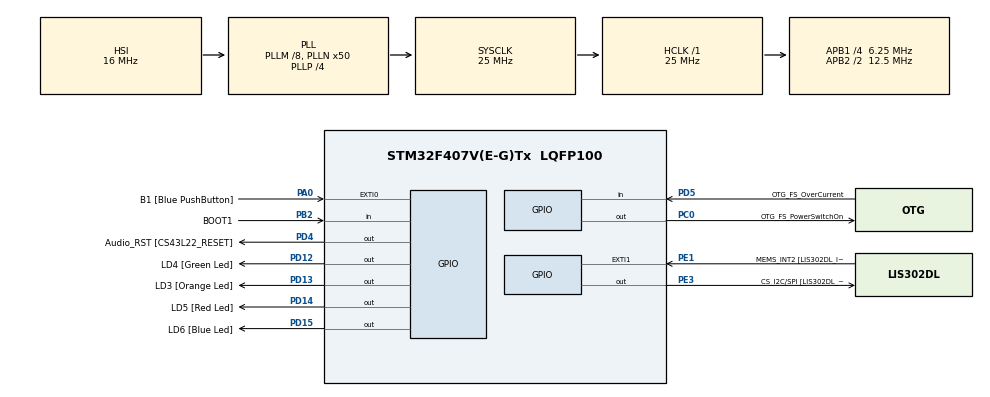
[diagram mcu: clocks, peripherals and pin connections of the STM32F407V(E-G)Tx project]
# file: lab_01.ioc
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Mcu.Family=STM32F4
Mcu.Name=STM32F407V(E-G)Tx
Mcu.Package=LQFP100
NVIC.PriorityGroup=NVIC_PRIORITYGROUP_4
NVIC.TIM7_IRQn=true\:0\:0\:false\:false\:true\:false\:true\:true
NVIC.TimeBase=TIM7_IRQn
NVIC.TimeBaseIP=TIM7
PA0-WKUP.GPIO_Label=B1 [Blue PushButton]
PA0-WKUP.Signal=GPXTI0
PA10.GPIO_Label=OTG_FS_ID
PA10.GPIO_Mode=GPIO_MODE_AF_PP
PA10.GPIO_PuPd=GPIO_NOPULL
PA10.GPIO_Speed=GPIO_SPEED_FREQ_LOW
PA10.Signal=USB_OTG_FS_ID
PA11.GPIO_Label=OTG_FS_DM
PA11.GPIO_Mode=GPIO_MODE_AF_PP
PA11.GPIO_PuPd=GPIO_NOPULL
PA11.GPIO_Speed=GPIO_SPEED_FREQ_LOW
PA11.Signal=USB_OTG_FS_DM
PA12.GPIO_Label=OTG_FS_DP
PA12.GPIO_Mode=GPIO_MODE_AF_PP
PA12.GPIO_PuPd=GPIO_NOPULL
PA12.GPIO_Speed=GPIO_SPEED_FREQ_LOW
PA12.Signal=USB_OTG_FS_DP
PA13.GPIO_Label=SWDIO
PA13.Mode=Serial_Wire
PA13.Signal=SYS_JTMS-SWDIO
PA14.GPIO_Label=SWCLK
PA14.Mode=Serial_Wire
PA14.Signal=SYS_JTCK-SWCLK
PA4.GPIO_Label=I2S3_WS [CS43L22_LRCK]
PA4.GPIO_Mode=GPIO_MODE_AF_PP
PA4.GPIO_PuPd=GPIO_NOPULL
PA4.GPIO_Speed=GPIO_SPEED_FREQ_LOW
PA4.Signal=I2S3_WS
PA5.GPIO_Label=SPI1_SCK [LIS302DL_SCL/SPC]
PA5.GPIO_Mode=GPIO_MODE_AF_PP
PA5.GPIO_PuPd=GPIO_NOPULL
PA5.GPIO_Speed=GPIO_SPEED_FREQ_LOW
PA5.Signal=SPI1_SCK
PA6.GPIO_Label=SPI1_MISO [LIS302DL_SDO]
PA6.GPIO_Mode=GPIO_MODE_AF_PP
PA6.GPIO_PuPd=GPIO_NOPULL
PA6.GPIO_Speed=GPIO_SPEED_FREQ_LOW
PA6.Signal=SPI1_MISO
PA7.GPIO_Label=SPI1_MOSI [LIS302DL_SDA/SDI/SDO]
PA7.GPIO_Mode=GPIO_MODE_AF_PP
PA7.GPIO_PuPd=GPIO_NOPULL
PA7.GPIO_Speed=GPIO_SPEED_FREQ_LOW
PA7.Signal=SPI1_MOSI
PA9.GPIO_Label=VBUS_FS
PA9.GPIO_Mode=GPIO_MODE_INPUT
PA9.GPIO_PuPd=GPIO_NOPULL
PA9.Signal=USB_OTG_FS_VBUS
PB10.GPIO_Label=CLK_IN [MP45DT02_CLK]
PB10.GPIO_Mode=GPIO_MODE_AF_PP
PB10.GPIO_PuPd=GPIO_NOPULL
PB10.GPIO_Speed=GPIO_SPEED_FREQ_LOW
PB10.Signal=I2S2_CK
PB2.GPIO_Label=BOOT1
PB2.GPIO_Mode=GPIO_MODE_INPUT
PB2.GPIO_PuPd=GPIO_NOPULL
PB2.Signal=GPIO_Input
PB3.GPIO_Label=SWO
PB3.Signal=SYS_JTDO-SWO
PB6.GPIO_Label=Audio_SCL [CS43L22_SCL]
PB6.GPIO_Mode=GPIO_MODE_AF_OD
PB6.GPIO_PuPd=GPIO_NOPULL
PB6.GPIO_Speed=GPIO_SPEED_FREQ_LOW
PB6.Signal=I2C1_SCL
PB9.GPIO_Label=Audio_SDA [CS43L22_SDA]
PB9.GPIO_Mode=GPIO_MODE_AF_OD
PB9.GPIO_PuPd=GPIO_NOPULL
PB9.GPIO_Speed=GPIO_SPEED_FREQ_LOW
PB9.Signal=I2C1_SDA
PC0.GPIO_Label=OTG_FS_PowerSwitchOn
PC0.GPIO_PuPd=GPIO_NOPULL
PC0.GPIO_Speed=GPIO_SPEED_FREQ_LOW
PC0.PinState=GPIO_PIN_SET
PC0.Signal=GPIO_Output
PC10.GPIO_Label=I2S3_SCK [CS43L22_SCLK]
PC10.GPIO_Mode=GPIO_MODE_AF_PP
PC10.GPIO_PuPd=GPIO_NOPULL
PC10.GPIO_Speed=GPIO_SPEED_FREQ_LOW
PC10.Signal=I2S3_CK
PC12.GPIO_Label=I2S3_SD [CS43L22_SDIN]
PC12.GPIO_Mode=GPIO_MODE_AF_PP
PC12.GPIO_PuPd=GPIO_NOPULL
PC12.GPIO_Speed=GPIO_SPEED_FREQ_LOW
PC12.Signal=I2S3_SD
PC14-OSC32_IN.GPIO_Label=PC14-OSC32_IN
PC14-OSC32_IN.Signal=RCC_OSC32_IN
PC15-OSC32_OUT.GPIO_Label=PC15-OSC32_OUT
PC15-OSC32_OUT.Signal=RCC_OSC32_OUT
PC3.GPIO_Label=PDM_OUT [MP45DT02_DOUT]
PC3.GPIO_Mode=GPIO_MODE_AF_PP
PC3.GPIO_PuPd=GPIO_NOPULL
PC3.GPIO_Speed=GPIO_SPEED_FREQ_LOW
PC3.Signal=I2S2_SD
PC7.GPIO_Label=I2S3_MCK [CS43L22_MCLK]
PC7.GPIO_Mode=GPIO_MODE_AF_PP
PC7.GPIO_PuPd=GPIO_NOPULL
PC7.GPIO_Speed=GPIO_SPEED_FREQ_LOW
PC7.Signal=I2S3_MCK
PD12.GPIO_Label=LD4 [Green Led]
PD12.GPIO_PuPd=GPIO_NOPULL
PD12.GPIO_Speed=GPIO_SPEED_FREQ_LOW
PD12.Signal=GPIO_Output
PD13.GPIO_Label=LD3 [Orange Led]
PD13.GPIO_PuPd=GPIO_NOPULL
PD13.GPIO_Speed=GPIO_SPEED_FREQ_LOW
PD13.Signal=GPIO_Output
PD14.GPIO_Label=LD5 [Red Led]
PD14.GPIO_PuPd=GPIO_NOPULL
PD14.GPIO_Speed=GPIO_SPEED_FREQ_LOW
PD14.Signal=GPIO_Output
PD15.GPIO_Label=LD6 [Blue Led]
PD15.GPIO_PuPd=GPIO_NOPULL
PD15.GPIO_Speed=GPIO_SPEED_FREQ_LOW
PD15.Signal=GPIO_Output
PD4.GPIO_Label=Audio_RST [CS43L22_RESET]
PD4.GPIO_PuPd=GPIO_NOPULL
PD4.GPIO_Speed=GPIO_SPEED_FREQ_LOW
PD4.Signal=GPIO_Output
PD5.GPIO_Label=OTG_FS_OverCurrent
PD5.GPIO_Mode=GPIO_MODE_INPUT
PD5.GPIO_PuPd=GPIO_NOPULL
PD5.Signal=GPIO_Input
PE1.GPIO_Label=MEMS_INT2 [LIS302DL_INT2]
PE1.GPIO_ModeDefaultEXTI=GPIO_MODE_EVT_RISING
PE1.GPIO_PuPd=GPIO_NOPULL
PE1.Signal=GPXTI1
PE3.GPIO_Label=CS_I2C/SPI [LIS302DL_CS_I2C/SPI]
PE3.GPIO_PuPd=GPIO_NOPULL
PE3.GPIO_Speed=GPIO_SPEED_FREQ_LOW
PE3.Signal=GPIO_Output
PH0-OSC_IN.GPIO_Label=PH0-OSC_IN
PH0-OSC_IN.Signal=RCC_OSC_IN
PH1-OSC_OUT.GPIO_Label=PH1-OSC_OUT
PH1-OSC_OUT.Signal=RCC_OSC_OUT
ProjectManager.HeapSize=0x200
ProjectManager.StackSize=0x400
ProjectManager.TargetToolchain=STM32CubeIDE
RCC.48MHZClocksFreq_Value=14285714.285714285
RCC.AHBFreq_Value=25000000
RCC.APB1CLKDivider=RCC_HCLK_DIV4
RCC.APB1Freq_Value=6250000
RCC.APB1TimFreq_Value=12500000
RCC.APB2CLKDivider=RCC_HCLK_DIV2
RCC.APB2Freq_Value=12500000
RCC.APB2TimFreq_Value=25000000
RCC.CortexFreq_Value=25000000
RCC.HCLKFreq_Value=25000000
RCC.HSE_VALUE=8000000
RCC.HSI_VALUE=16000000
RCC.LSE_VALUE=32768
RCC.PLLM=8
RCC.PLLN=50
RCC.PLLP=RCC_PLLP_DIV4
RCC.PLLQ=7
RCC.SYSCLKFreq_VALUE=25000000
RCC.SYSCLKSource=RCC_SYSCLKSOURCE_PLLCLK
RCC.VCOOutputFreq_Value=100000000
VP_SYS_VS_tim7.Mode=TIM7
board=STM32F407G-DISC1

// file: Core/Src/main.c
/* USER CODE BEGIN Header */
/**
  ******************************************************************************
  * @file           : main.c
  * @brief          : Main program body
  ******************************************************************************
  * @attention
  *
  * Copyright (c) 2022 STMicroelectronics.
  * All rights reserved.
  *
  * This software is licensed under terms that can be found in the LICENSE file
  * in the root directory of this software component.
  * If no LICENSE file comes with this software, it is provided AS-IS.
  *
  ******************************************************************************
  */
/* USER CODE END Header */
#include "main.h"

/* USER CODE BEGIN Includes */
#include "stdio.h"
#include "stdlib.h"
#include "FreeRTOS.h"
#include "task.h"
#include "queue.h"

/* USER CODE END Includes */

void SystemClock_Config(void);
static void MX_GPIO_Init(void);

/* USER CODE BEGIN 0 */
BaseType_t xReturned;
TaskHandle_t xHandle=NULL;
QueueHandle_t MsgQueue = NULL;
//void LED_Task( void ){
//
//		HAL_GPIO_WritePin(GPIOD, GPIO_PIN_12 | GPIO_PIN_13 | GPIO_PIN_14 | GPIO_PIN_15, GPIO_PIN_RESET);
//		int btn = 0;
//		for(;;){
//			if(HAL_GPIO_ReadPin(GPIOA,GPIO_PIN_0)){
//				btn = ~btn;
//
//			}
//			if(btn){
//				HAL_GPIO_WritePin(GPIOD, GPIO_PIN_13, GPIO_PIN_SET );
//				vTaskDelay(1000);
//				HAL_GPIO_WritePin(GPIOD, GPIO_PIN_13, GPIO_PIN_RESET );
//				vTaskDelay(1000);
//			}
//			else{
//				HAL_GPIO_WritePin(GPIOD, GPIO_PIN_12, GPIO_PIN_SET );
//				vTaskDelay(2000);
//				HAL_GPIO_WritePin(GPIOD, GPIO_PIN_12, GPIO_PIN_RESET );
//				HAL_GPIO_WritePin(GPIOD, GPIO_PIN_14, GPIO_PIN_SET );
//				vTaskDelay(2000);
//				HAL_GPIO_WritePin(GPIOD, GPIO_PIN_14, GPIO_PIN_RESET );
//			}
//
//		}
//
//}
void ButtonTask_App(void)
{
	unsigned int task = 0;
		unsigned int count = 0;
		for(;;)
		{
			if(HAL_GPIO_ReadPin(GPIOA,GPIO_PIN_0))
			{
				HAL_Delay(100);
				while(HAL_GPIO_ReadPin(GPIOA,GPIO_PIN_0))
				{;}
				++count ;
				if(count & 0x01)
					task = 1;
				else
					task = 0;
				xQueueSend(MsgQueue,(int * ) &task,1);
				taskYIELD();
			}
		}
}
void LEDTask_App(void)
{
	unsigned int light = 1;
	for(;;)
	{
		while(light==0){
			//orange light mode
			HAL_GPIO_WritePin(GPIOD, GPIO_PIN_13, GPIO_PIN_SET);
			vTaskDelay(1000);
			xQueueReceive(MsgQueue,&light, 0);
			HAL_GPIO_WritePin(GPIOD, GPIO_PIN_13, GPIO_PIN_RESET);
			vTaskDelay(1000);

		}

		while(light==1){
			// red green light mode
			HAL_GPIO_WritePin(GPIOD, GPIO_PIN_12, GPIO_PIN_SET);
			vTaskDelay(2000);
			xQueueReceive(MsgQueue,&light, 0);
			HAL_GPIO_WritePin(GPIOD, GPIO_PIN_12, GPIO_PIN_RESET);

			if(light==0) break;

			HAL_GPIO_WritePin(GPIOD, GPIO_PIN_14, GPIO_PIN_SET);
			vTaskDelay(2000);
			xQueueReceive(MsgQueue,&light, 0);
			HAL_GPIO_WritePin(GPIOD, GPIO_PIN_14, GPIO_PIN_RESET);
		}
	}
}

/* USER CODE END 0 */

int main(void)
{

  /* MCU Configuration--------------------------------------------------------*/

  /* Reset of all peripherals, Initializes the Flash interface and the Systick. */
  HAL_Init();

  /* Configure the system clock */
  SystemClock_Config();

  /* Initialize all configured peripherals */
  MX_GPIO_Init();

  /* USER CODE BEGIN 2 */
//  xTaskCreate(LED_Task, "LED_Task", 128, NULL, 1, &xHandle);
  MsgQueue = xQueueCreate(1,sizeof(unsigned int));

  xTaskCreate(LEDTask_App,"LEDTask_App",128,NULL,1,&xHandle);
  xTaskCreate(ButtonTask_App,"ButtonTask_App",128,NULL,1,&xHandle);

  vTaskStartScheduler();
  /* USER CODE END 2 */

  /* Infinite loop */
  while (1)
  {

  }
}

void SystemClock_Config(void)
{
  RCC_OscInitTypeDef RCC_OscInitStruct = {0};
  RCC_ClkInitTypeDef RCC_ClkInitStruct = {0};

  /** Configure the main internal regulator output voltage
  */
  __HAL_RCC_PWR_CLK_ENABLE();
  __HAL_PWR_VOLTAGESCALING_CONFIG(PWR_REGULATOR_VOLTAGE_SCALE1);
  /** Initializes the RCC Oscillators according to the specified parameters
  * in the RCC_OscInitTypeDef structure.
  */
  RCC_OscInitStruct.OscillatorType = RCC_OSCILLATORTYPE_HSI;
  RCC_OscInitStruct.HSIState = RCC_HSI_ON;
  RCC_OscInitStruct.HSICalibrationValue = RCC_HSICALIBRATION_DEFAULT;
  RCC_OscInitStruct.PLL.PLLState = RCC_PLL_ON;
  RCC_OscInitStruct.PLL.PLLSource = RCC_PLLSOURCE_HSI;
  RCC_OscInitStruct.PLL.PLLM = 8;
  RCC_OscInitStruct.PLL.PLLN = 50;
  RCC_OscInitStruct.PLL.PLLP = RCC_PLLP_DIV4;
  RCC_OscInitStruct.PLL.PLLQ = 7;
  if (HAL_RCC_OscConfig(&RCC_OscInitStruct) != HAL_OK)
  {
    Error_Handler();
  }
  /** Initializes the CPU, AHB and APB buses clocks
  */
  RCC_ClkInitStruct.ClockType = RCC_CLOCKTYPE_HCLK|RCC_CLOCKTYPE_SYSCLK
                              |RCC_CLOCKTYPE_PCLK1|RCC_CLOCKTYPE_PCLK2;
  RCC_ClkInitStruct.SYSCLKSource = RCC_SYSCLKSOURCE_PLLCLK;
  RCC_ClkInitStruct.AHBCLKDivider = RCC_SYSCLK_DIV1;
  RCC_ClkInitStruct.APB1CLKDivider = RCC_HCLK_DIV4;
  RCC_ClkInitStruct.APB2CLKDivider = RCC_HCLK_DIV2;

  if (HAL_RCC_ClockConfig(&RCC_ClkInitStruct, FLASH_LATENCY_0) != HAL_OK)
  {
    Error_Handler();
  }
}

static void MX_GPIO_Init(void)
{
  GPIO_InitTypeDef GPIO_InitStruct = {0};

  /* GPIO Ports Clock Enable */
  __HAL_RCC_GPIOE_CLK_ENABLE();
  __HAL_RCC_GPIOC_CLK_ENABLE();
  __HAL_RCC_GPIOH_CLK_ENABLE();
  __HAL_RCC_GPIOA_CLK_ENABLE();
  __HAL_RCC_GPIOB_CLK_ENABLE();
  __HAL_RCC_GPIOD_CLK_ENABLE();

  /*Configure GPIO pin Output Level */
  HAL_GPIO_WritePin(CS_I2C_SPI_GPIO_Port, CS_I2C_SPI_Pin, GPIO_PIN_RESET);

  /*Configure GPIO pin Output Level */
  HAL_GPIO_WritePin(OTG_FS_PowerSwitchOn_GPIO_Port, OTG_FS_PowerSwitchOn_Pin, GPIO_PIN_SET);

  /*Configure GPIO pin Output Level */
  HAL_GPIO_WritePin(GPIOD, LD4_Pin|LD3_Pin|LD5_Pin|LD6_Pin
                          |Audio_RST_Pin, GPIO_PIN_RESET);

  /*Configure GPIO pin : CS_I2C_SPI_Pin */
  GPIO_InitStruct.Pin = CS_I2C_SPI_Pin;
  GPIO_InitStruct.Mode = GPIO_MODE_OUTPUT_PP;
  GPIO_InitStruct.Pull = GPIO_NOPULL;
  GPIO_InitStruct.Speed = GPIO_SPEED_FREQ_LOW;
  HAL_GPIO_Init(CS_I2C_SPI_GPIO_Port, &GPIO_InitStruct);

  /*Configure GPIO pin : OTG_FS_PowerSwitchOn_Pin */
  GPIO_InitStruct.Pin = OTG_FS_PowerSwitchOn_Pin;
  GPIO_InitStruct.Mode = GPIO_MODE_OUTPUT_PP;
  GPIO_InitStruct.Pull = GPIO_NOPULL;
  GPIO_InitStruct.Speed = GPIO_SPEED_FREQ_LOW;
  HAL_GPIO_Init(OTG_FS_PowerSwitchOn_GPIO_Port, &GPIO_InitStruct);

  /*Configure GPIO pin : PDM_OUT_Pin */
  GPIO_InitStruct.Pin = PDM_OUT_Pin;
  GPIO_InitStruct.Mode = GPIO_MODE_AF_PP;
  GPIO_InitStruct.Pull = GPIO_NOPULL;
  GPIO_InitStruct.Speed = GPIO_SPEED_FREQ_LOW;
  GPIO_InitStruct.Alternate = GPIO_AF5_SPI2;
  HAL_GPIO_Init(PDM_OUT_GPIO_Port, &GPIO_InitStruct);

  /*Configure GPIO pin : B1_Pin */
  GPIO_InitStruct.Pin = B1_Pin;
  GPIO_InitStruct.Mode = GPIO_MODE_IT_RISING;
  GPIO_InitStruct.Pull = GPIO_NOPULL;
  HAL_GPIO_Init(B1_GPIO_Port, &GPIO_InitStruct);

  /*Configure GPIO pin : I2S3_WS_Pin */
  GPIO_InitStruct.Pin = I2S3_WS_Pin;
  GPIO_InitStruct.Mode = GPIO_MODE_AF_PP;
  GPIO_InitStruct.Pull = GPIO_NOPULL;
  GPIO_InitStruct.Speed = GPIO_SPEED_FREQ_LOW;
  GPIO_InitStruct.Alternate = GPIO_AF6_SPI3;
  HAL_GPIO_Init(I2S3_WS_GPIO_Port, &GPIO_InitStruct);

  /*Configure GPIO pins : SPI1_SCK_Pin SPI1_MISO_Pin SPI1_MOSI_Pin */
  GPIO_InitStruct.Pin = SPI1_SCK_Pin|SPI1_MISO_Pin|SPI1_MOSI_Pin;
  GPIO_InitStruct.Mode = GPIO_MODE_AF_PP;
  GPIO_InitStruct.Pull = GPIO_NOPULL;
  GPIO_InitStruct.Speed = GPIO_SPEED_FREQ_LOW;
  GPIO_InitStruct.Alternate = GPIO_AF5_SPI1;
  HAL_GPIO_Init(GPIOA, &GPIO_InitStruct);

  /*Configure GPIO pin : BOOT1_Pin */
  GPIO_InitStruct.Pin = BOOT1_Pin;
  GPIO_InitStruct.Mode = GPIO_MODE_INPUT;
  GPIO_InitStruct.Pull = GPIO_NOPULL;
  HAL_GPIO_Init(BOOT1_GPIO_Port, &GPIO_InitStruct);

  /*Configure GPIO pin : CLK_IN_Pin */
  GPIO_InitStruct.Pin = CLK_IN_Pin;
  GPIO_InitStruct.Mode = GPIO_MODE_AF_PP;
  GPIO_InitStruct.Pull = GPIO_NOPULL;
  GPIO_InitStruct.Speed = GPIO_SPEED_FREQ_LOW;
  GPIO_InitStruct.Alternate = GPIO_AF5_SPI2;
  HAL_GPIO_Init(CLK_IN_GPIO_Port, &GPIO_InitStruct);

  /*Configure GPIO pins : LD4_Pin LD3_Pin LD5_Pin LD6_Pin
                           Audio_RST_Pin */
  GPIO_InitStruct.Pin = LD4_Pin|LD3_Pin|LD5_Pin|LD6_Pin
                          |Audio_RST_Pin;
  GPIO_InitStruct.Mode = GPIO_MODE_OUTPUT_PP;
  GPIO_InitStruct.Pull = GPIO_NOPULL;
  GPIO_InitStruct.Speed = GPIO_SPEED_FREQ_LOW;
  HAL_GPIO_Init(GPIOD, &GPIO_InitStruct);

  /*Configure GPIO pins : I2S3_MCK_Pin I2S3_SCK_Pin I2S3_SD_Pin */
  GPIO_InitStruct.Pin = I2S3_MCK_Pin|I2S3_SCK_Pin|I2S3_SD_Pin;
  GPIO_InitStruct.Mode = GPIO_MODE_AF_PP;
  GPIO_InitStruct.Pull = GPIO_NOPULL;
  GPIO_InitStruct.Speed = GPIO_SPEED_FREQ_LOW;
  GPIO_InitStruct.Alternate = GPIO_AF6_SPI3;
  HAL_GPIO_Init(GPIOC, &GPIO_InitStruct);

  /*Configure GPIO pin : VBUS_FS_Pin */
  GPIO_InitStruct.Pin = VBUS_FS_Pin;
  GPIO_InitStruct.Mode = GPIO_MODE_INPUT;
  GPIO_InitStruct.Pull = GPIO_NOPULL;
  HAL_GPIO_Init(VBUS_FS_GPIO_Port, &GPIO_InitStruct);

  /*Configure GPIO pins : OTG_FS_ID_Pin OTG_FS_DM_Pin OTG_FS_DP_Pin */
  GPIO_InitStruct.Pin = OTG_FS_ID_Pin|OTG_FS_DM_Pin|OTG_FS_DP_Pin;
  GPIO_InitStruct.Mode = GPIO_MODE_AF_PP;
  GPIO_InitStruct.Pull = GPIO_NOPULL;
  GPIO_InitStruct.Speed = GPIO_SPEED_FREQ_LOW;
  GPIO_InitStruct.Alternate = GPIO_AF10_OTG_FS;
  HAL_GPIO_Init(GPIOA, &GPIO_InitStruct);

  /*Configure GPIO pin : OTG_FS_OverCurrent_Pin */
  GPIO_InitStruct.Pin = OTG_FS_OverCurrent_Pin;
  GPIO_InitStruct.Mode = GPIO_MODE_INPUT;
  GPIO_InitStruct.Pull = GPIO_NOPULL;
  HAL_GPIO_Init(OTG_FS_OverCurrent_GPIO_Port, &GPIO_InitStruct);

  /*Configure GPIO pins : Audio_SCL_Pin Audio_SDA_Pin */
  GPIO_InitStruct.Pin = Audio_SCL_Pin|Audio_SDA_Pin;
  GPIO_InitStruct.Mode = GPIO_MODE_AF_OD;
  GPIO_InitStruct.Pull = GPIO_NOPULL;
  GPIO_InitStruct.Speed = GPIO_SPEED_FREQ_LOW;
  GPIO_InitStruct.Alternate = GPIO_AF4_I2C1;
  HAL_GPIO_Init(GPIOB, &GPIO_InitStruct);

  /*Configure GPIO pin : MEMS_INT2_Pin */
  GPIO_InitStruct.Pin = MEMS_INT2_Pin;
  GPIO_InitStruct.Mode = GPIO_MODE_EVT_RISING;
  GPIO_InitStruct.Pull = GPIO_NOPULL;
  HAL_GPIO_Init(MEMS_INT2_GPIO_Port, &GPIO_InitStruct);

}

void HAL_TIM_PeriodElapsedCallback(TIM_HandleTypeDef *htim)
{
  if (htim->Instance == TIM7) {
    HAL_IncTick();
  }
}

void Error_Handler(void)
{
  __disable_irq();
  while (1)
  {
  }
}
